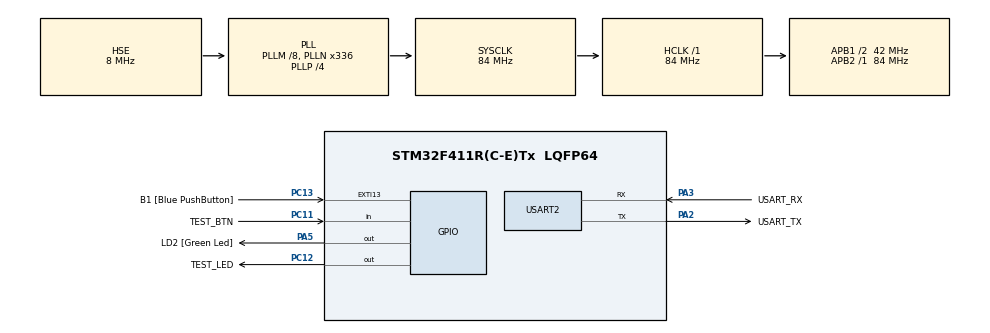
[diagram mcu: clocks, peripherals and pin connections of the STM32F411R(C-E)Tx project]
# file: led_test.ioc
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Mcu.Family=STM32F4
Mcu.Name=STM32F411R(C-E)Tx
Mcu.Package=LQFP64
NVIC.PriorityGroup=NVIC_PRIORITYGROUP_0
PA13.GPIO_Label=TMS
PA13.Mode=Serial_Wire
PA13.Signal=SYS_JTMS-SWDIO
PA14.GPIO_Label=TCK
PA14.Mode=Serial_Wire
PA14.Signal=SYS_JTCK-SWCLK
PA2.GPIO_Label=USART_TX
PA2.Mode=Asynchronous
PA2.Signal=USART2_TX
PA3.GPIO_Label=USART_RX
PA3.Mode=Asynchronous
PA3.Signal=USART2_RX
PA5.GPIO_Label=LD2 [Green Led]
PA5.GPIO_ModeDefaultOutputPP=GPIO_MODE_OUTPUT_PP
PA5.Signal=GPIO_Output
PB3.GPIO_Label=SWO
PB3.Signal=SYS_JTDO-SWO
PC11.GPIO_Label=TEST_BTN
PC11.Signal=GPIO_Input
PC12.GPIO_Label=TEST_LED
PC12.Signal=GPIO_Output
PC13-ANTI_TAMP.GPIO_Label=B1 [Blue PushButton]
PC13-ANTI_TAMP.GPIO_ModeDefaultEXTI=GPIO_MODE_IT_FALLING
PC13-ANTI_TAMP.Signal=GPXTI13
PC14-OSC32_IN.Signal=RCC_OSC32_IN
PC15-OSC32_OUT.Signal=RCC_OSC32_OUT
PH0\ -\ OSC_IN.Mode=HSE-External-Oscillator
PH0\ -\ OSC_IN.Signal=RCC_OSC_IN
PH1\ -\ OSC_OUT.Mode=HSE-External-Oscillator
PH1\ -\ OSC_OUT.Signal=RCC_OSC_OUT
ProjectManager.HeapSize=0x200
ProjectManager.StackSize=0x400
ProjectManager.TargetToolchain=STM32CubeIDE
RCC.48MHZClocksFreq_Value=84000000
RCC.AHBFreq_Value=84000000
RCC.APB1CLKDivider=RCC_HCLK_DIV2
RCC.APB1Freq_Value=42000000
RCC.APB1TimFreq_Value=84000000
RCC.APB2Freq_Value=84000000
RCC.APB2TimFreq_Value=84000000
RCC.CortexFreq_Value=84000000
RCC.FLatency-AdvancedSettings=FLASH_LATENCY_2
RCC.HCLKFreq_Value=84000000
RCC.HSE_VALUE=8000000
RCC.HSI_VALUE=16000000
RCC.LSE_VALUE=32768
RCC.PLLM=8
RCC.PLLN=336
RCC.PLLP=RCC_PLLP_DIV4
RCC.PLLSourceVirtual=RCC_PLLSOURCE_HSE
RCC.SYSCLKFreq_VALUE=84000000
RCC.SYSCLKSource=RCC_SYSCLKSOURCE_PLLCLK
RCC.VCOOutputFreq_Value=336000000
USART2.VirtualMode=VM_ASYNC
board=NUCLEO-F411RE

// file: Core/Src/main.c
/* USER CODE BEGIN Header */
/**
  ******************************************************************************
  * @file           : main.c
  * @brief          : Main program body
  ******************************************************************************
  * @attention
  *
  * Copyright (c) 2024 STMicroelectronics.
  * All rights reserved.
  *
  * This software is licensed under terms that can be found in the LICENSE file
  * in the root directory of this software component.
  * If no LICENSE file comes with this software, it is provided AS-IS.
  *
  ******************************************************************************
  */
#include <stdio.h>
/* USER CODE END Header */
#include "main.h"

/* USER CODE BEGIN PD */
#ifdef __GNUC__
/* With GCC, small printf (option LD Linker->Libraries->Small printf
   set to 'Yes') calls __io_putchar() */
#define PUTCHAR_PROTOTYPE int __io_putchar(int ch)
#else
#define PUTCHAR_PROTOTYPE int fputc(int ch, FILE *f)
#endif /* __GNUC__ */
/* USER CODE END PD */

UART_HandleTypeDef huart2;

void SystemClock_Config(void);
static void MX_GPIO_Init(void);
static void MX_USART2_UART_Init(void);

int main(void)
{

  /* MCU Configuration--------------------------------------------------------*/

  /* Reset of all peripherals, Initializes the Flash interface and the Systick. */
  HAL_Init();

  /* Configure the system clock */
  SystemClock_Config();

  /* Initialize all configured peripherals */
  MX_GPIO_Init();
  MX_USART2_UART_Init();

  /* Infinite loop */
  /* USER CODE BEGIN WHILE */

  while (1)
  {
//	  HAL_GPIO_TogglePin(LD2_GPIO_Port,LD2_Pin);
//	  HAL_Delay(1000);
	  int B1_State = !HAL_GPIO_ReadPin(B1_GPIO_Port,B1_Pin);
	  printf("B1_State : %d\n\r",B1_State);
	  HAL_GPIO_WritePin(LD2_GPIO_Port,LD2_Pin,B1_State);

	  int BTN_State = HAL_GPIO_ReadPin(TEST_BTN_GPIO_Port,TEST_BTN_Pin);
	  printf("BTN_State : %d\n\r",BTN_State);
	  HAL_GPIO_WritePin(TEST_LED_GPIO_Port, TEST_LED_Pin, BTN_State);

	  HAL_Delay(500);
    /* USER CODE END WHILE */

  }
}

void SystemClock_Config(void)
{
  RCC_OscInitTypeDef RCC_OscInitStruct = {0};
  RCC_ClkInitTypeDef RCC_ClkInitStruct = {0};

  /** Configure the main internal regulator output voltage
  */
  __HAL_RCC_PWR_CLK_ENABLE();
  __HAL_PWR_VOLTAGESCALING_CONFIG(PWR_REGULATOR_VOLTAGE_SCALE1);

  /** Initializes the RCC Oscillators according to the specified parameters
  * in the RCC_OscInitTypeDef structure.
  */
  RCC_OscInitStruct.OscillatorType = RCC_OSCILLATORTYPE_HSE;
  RCC_OscInitStruct.HSEState = RCC_HSE_ON;
  RCC_OscInitStruct.PLL.PLLState = RCC_PLL_ON;
  RCC_OscInitStruct.PLL.PLLSource = RCC_PLLSOURCE_HSE;
  RCC_OscInitStruct.PLL.PLLM = 8;
  RCC_OscInitStruct.PLL.PLLN = 336;
  RCC_OscInitStruct.PLL.PLLP = RCC_PLLP_DIV4;
  RCC_OscInitStruct.PLL.PLLQ = 4;
  if (HAL_RCC_OscConfig(&RCC_OscInitStruct) != HAL_OK)
  {
    Error_Handler();
  }

  /** Initializes the CPU, AHB and APB buses clocks
  */
  RCC_ClkInitStruct.ClockType = RCC_CLOCKTYPE_HCLK|RCC_CLOCKTYPE_SYSCLK
                              |RCC_CLOCKTYPE_PCLK1|RCC_CLOCKTYPE_PCLK2;
  RCC_ClkInitStruct.SYSCLKSource = RCC_SYSCLKSOURCE_PLLCLK;
  RCC_ClkInitStruct.AHBCLKDivider = RCC_SYSCLK_DIV1;
  RCC_ClkInitStruct.APB1CLKDivider = RCC_HCLK_DIV2;
  RCC_ClkInitStruct.APB2CLKDivider = RCC_HCLK_DIV1;

  if (HAL_RCC_ClockConfig(&RCC_ClkInitStruct, FLASH_LATENCY_2) != HAL_OK)
  {
    Error_Handler();
  }
}

static void MX_USART2_UART_Init(void)
{

  huart2.Instance = USART2;
  huart2.Init.BaudRate = 115200;
  huart2.Init.WordLength = UART_WORDLENGTH_8B;
  huart2.Init.StopBits = UART_STOPBITS_1;
  huart2.Init.Parity = UART_PARITY_NONE;
  huart2.Init.Mode = UART_MODE_TX_RX;
  huart2.Init.HwFlowCtl = UART_HWCONTROL_NONE;
  huart2.Init.OverSampling = UART_OVERSAMPLING_16;
  if (HAL_UART_Init(&huart2) != HAL_OK)
  {
    Error_Handler();
  }

}

static void MX_GPIO_Init(void)
{
  GPIO_InitTypeDef GPIO_InitStruct = {0};

  /* GPIO Ports Clock Enable */
  __HAL_RCC_GPIOC_CLK_ENABLE();
  __HAL_RCC_GPIOH_CLK_ENABLE();
  __HAL_RCC_GPIOA_CLK_ENABLE();
  __HAL_RCC_GPIOB_CLK_ENABLE();

  /*Configure GPIO pin Output Level */
  HAL_GPIO_WritePin(LD2_GPIO_Port, LD2_Pin, GPIO_PIN_RESET);

  /*Configure GPIO pin Output Level */
  HAL_GPIO_WritePin(TEST_LED_GPIO_Port, TEST_LED_Pin, GPIO_PIN_RESET);

  /*Configure GPIO pin : B1_Pin */
  GPIO_InitStruct.Pin = B1_Pin ;
  GPIO_InitStruct.Mode = GPIO_MODE_IT_FALLING;
  GPIO_InitStruct.Pull = GPIO_NOPULL;
  HAL_GPIO_Init(B1_GPIO_Port, &GPIO_InitStruct);

  /*Configure GPIO pin : LD2_Pin */
  GPIO_InitStruct.Pin = LD2_Pin;
  GPIO_InitStruct.Mode = GPIO_MODE_OUTPUT_PP;
  GPIO_InitStruct.Pull = GPIO_NOPULL;
  GPIO_InitStruct.Speed = GPIO_SPEED_FREQ_LOW;
  HAL_GPIO_Init(LD2_GPIO_Port, &GPIO_InitStruct);

  /*Configure GPIO pin : TEST_BTN_Pin */
  GPIO_InitStruct.Pin = TEST_BTN_Pin;
  GPIO_InitStruct.Mode = GPIO_MODE_INPUT;
  GPIO_InitStruct.Pull = GPIO_NOPULL;
  HAL_GPIO_Init(TEST_BTN_GPIO_Port, &GPIO_InitStruct);

  /*Configure GPIO pin : TEST_LED_Pin */
  GPIO_InitStruct.Pin = TEST_LED_Pin;
  GPIO_InitStruct.Mode = GPIO_MODE_OUTPUT_PP;
  GPIO_InitStruct.Pull = GPIO_NOPULL;
  GPIO_InitStruct.Speed = GPIO_SPEED_FREQ_LOW;
  HAL_GPIO_Init(TEST_LED_GPIO_Port, &GPIO_InitStruct);

}

/* USER CODE BEGIN 4 */
/**
  * @brief  Retargets the C library printf function to the USART.
  * @param  None
  * @retval None
  */
PUTCHAR_PROTOTYPE
{
  /* Place your implementation of fputc here */
  /* e.g. write a character to the USART6 and Loop until the end of transmission */
  HAL_UART_Transmit(&huart2, (uint8_t *)&ch, 1, 0xFFFF);

  return ch;
}
/* USER CODE END 4 */

void Error_Handler(void)
{
  __disable_irq();
  while (1)
  {
  }
}
